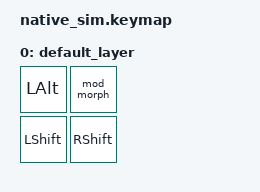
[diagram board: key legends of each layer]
#include <dt-bindings/zmk/keys.h>
#include <behaviors.dtsi>
#include <dt-bindings/zmk/input_mock.h>

/ {
    behaviors {
        mod_morph: mod_morph {
            compatible = "zmk,behavior-mod-morph";
            #binding-cells = <0>;
            bindings = <&kp A>, <&kp B>;
            mods = <(MOD_LSFT|MOD_RSFT)>;
            keep-mods = <(MOD_LSFT|MOD_RSFT)>;  // no masking
        };
    };

    keymap {
        compatible = "zmk,keymap";

        default_layer {
            bindings = <
                &kp LEFT_ALT &mod_morph
                &kp LEFT_SHIFT &kp RIGHT_SHIFT
            >;
        };
    };
};

&mock_input {
    events = <
        ZMK_INPUT_MOCK_PRESS(1,0,10)
        ZMK_INPUT_MOCK_PRESS(0,1,10)
        ZMK_INPUT_MOCK_RELEASE(0,1,10)
        ZMK_INPUT_MOCK_RELEASE(1,0,10)
    >;
};
